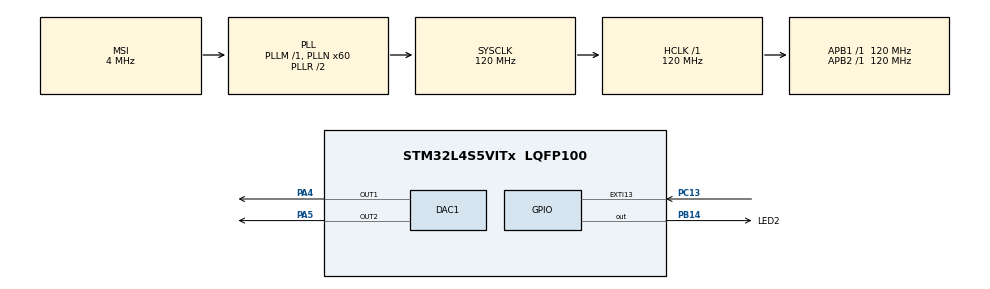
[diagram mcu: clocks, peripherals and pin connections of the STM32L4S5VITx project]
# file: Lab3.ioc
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DAC1.DAC_Channel-DAC_OUT2=DAC_CHANNEL_2
DAC1.DAC_Trigger-DAC_OUT1=DAC_TRIGGER_T2_TRGO
Dma.DAC1_CH1.0.Direction=DMA_MEMORY_TO_PERIPH
Dma.DAC1_CH1.0.EventEnable=DISABLE
Dma.DAC1_CH1.0.Instance=DMA1_Channel1
Dma.DAC1_CH1.0.MemDataAlignment=DMA_MDATAALIGN_BYTE
Dma.DAC1_CH1.0.MemInc=DMA_MINC_ENABLE
Dma.DAC1_CH1.0.Mode=DMA_CIRCULAR
Dma.DAC1_CH1.0.PeriphDataAlignment=DMA_PDATAALIGN_HALFWORD
Dma.DAC1_CH1.0.PeriphInc=DMA_PINC_DISABLE
Dma.DAC1_CH1.0.Polarity=HAL_DMAMUX_REQUEST_GEN_RISING
Dma.DAC1_CH1.0.Priority=DMA_PRIORITY_LOW
Dma.DAC1_CH1.0.RequestNumber=1
Dma.DAC1_CH1.0.SignalID=NONE
Dma.DAC1_CH1.0.SyncEnable=DISABLE
Dma.DAC1_CH1.0.SyncPolarity=HAL_DMAMUX_SYNC_NO_EVENT
Dma.DAC1_CH1.0.SyncRequestNumber=1
Dma.DAC1_CH1.0.SyncSignalID=NONE
Dma.Request0=DAC1_CH1
Mcu.Family=STM32L4
Mcu.Name=STM32L4S5VITx
Mcu.Package=LQFP100
NVIC.DMA1_Channel1_IRQn=true\:0\:0\:false\:false\:true\:false\:true\:true
NVIC.EXTI15_10_IRQn=true\:0\:0\:false\:false\:true\:true\:true\:true
NVIC.PriorityGroup=NVIC_PRIORITYGROUP_4
NVIC.TIM2_IRQn=true\:0\:0\:false\:false\:true\:true\:true\:true
PA4.Signal=COMP_DAC11_group
PA5.Signal=COMP_DAC12_group
PB14.GPIO_Label=LED2
PB14.Signal=GPIO_Output
PC13.Signal=GPXTI13
ProjectManager.HeapSize=0x200
ProjectManager.StackSize=0x400
ProjectManager.TargetToolchain=CMake
RCC.ADCFreq_Value=16000000
RCC.AHBFreq_Value=120000000
RCC.APB1Freq_Value=120000000
RCC.APB1TimFreq_Value=120000000
RCC.APB2Freq_Value=120000000
RCC.APB2TimFreq_Value=120000000
RCC.CortexFreq_Value=120000000
RCC.HCLKFreq_Value=120000000
RCC.HSE_VALUE=8000000
RCC.HSI48_VALUE=48000000
RCC.HSI_VALUE=16000000
RCC.LSE_VALUE=32768
RCC.MSI_VALUE=4000000
RCC.PLLN=60
RCC.SYSCLKFreq_VALUE=120000000
RCC.SYSCLKSource=RCC_SYSCLKSOURCE_PLLCLK
RCC.USBFreq_Value=16000000
RCC.VCOOutputFreq_Value=240000000
SH.COMP_DAC11_group.0=DAC1_OUT1,DAC_OUT1
SH.COMP_DAC12_group.0=DAC1_OUT2,DAC_OUT2
TIM2.AutoReloadPreload=TIM_AUTORELOAD_PRELOAD_ENABLE
TIM2.Period=2721
TIM2.TIM_MasterOutputTrigger=TIM_TRGO_UPDATE
VP_TIM2_VS_ClockSourceINT.Mode=Internal
board=custom

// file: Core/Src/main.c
/* USER CODE BEGIN Header */
/**
  ******************************************************************************
  * @file           : main.c
  * @brief          : Main program body
  ******************************************************************************
  * @attention
  *
  * Copyright (c) 2026 STMicroelectronics.
  * All rights reserved.
  *
  * This software is licensed under terms that can be found in the LICENSE file
  * in the root directory of this software component.
  * If no LICENSE file comes with this software, it is provided AS-IS.
  *
  ******************************************************************************
  */
/* USER CODE END Header */
#include "main.h"

/* USER CODE BEGIN Includes */
#include "arm_math.h"
#include "stm32l4xx_hal_gpio.h"
/* USER CODE END Includes */

/* USER CODE BEGIN PD */
#define PART_1 1
#define PART_1_SINE 2
#define PART_2 3
#define PART_3 4
#define IMPLEMENTATION_MODE 4
/* USER CODE END PD */

DAC_HandleTypeDef hdac1;
DMA_HandleTypeDef hdma_dac1_ch1;

TIM_HandleTypeDef htim2;

/* USER CODE BEGIN PV */
#if IMPLEMENTATION_MODE == PART_1
int32_t dac_value1 = 0;
int32_t dac_value2 = 0;
uint32_t sawtooth_step = 273;
uint32_t tri_step = 546;
#endif
#if IMPLEMENTATION_MODE == PART_2 || IMPLEMENTATION_MODE == PART_3
#define N_SAMPLES 32 // 44.1 kHz / 32 = 1378 Hz tone
uint8_t sine[N_SAMPLES]; // 8-bit DAC values
volatile uint32_t sineIndex = 0;
#endif

#if IMPLEMENTATION_MODE == PART_3
#define N_TONES 3
const uint32_t toneARR[N_TONES] = {3597, 3204, 2855};   // C6, D6, E6 at 120 MHz, 32 samples
volatile uint8_t toneIndex = 0;
#endif
/* USER CODE END PV */

void SystemClock_Config(void);
static void MX_GPIO_Init(void);
static void MX_DMA_Init(void);
static void MX_DAC1_Init(void);
static void MX_TIM2_Init(void);

/* USER CODE BEGIN 0 */

//Called by the EXTI interrupt when the button edge arrives.
void HAL_GPIO_EXTI_Callback(uint16_t GPIO_Pin)
{
  if (GPIO_Pin == GPIO_PIN_13)
  {
    //part2
    #if IMPLEMENTATION_MODE == PART_2
    HAL_GPIO_TogglePin(LED2_GPIO_Port, LED2_Pin);
    #endif

    #if IMPLEMENTATION_MODE == PART_3 //tone = sample rate / samples per period
    static uint32_t lastPress = 0;
    uint32_t currentPress = HAL_GetTick(); // get the current time in milliseconds
    if (currentPress - lastPress < 200) return;
    lastPress = currentPress; // update the last press time

    toneIndex++; // increment the tone index
    if (toneIndex >= N_TONES) toneIndex = 0; // wrap back to 0
    __HAL_TIM_SET_AUTORELOAD(&htim2, toneARR[toneIndex]); //change sample rate, changes TIM2’s ARR to the value for the currently selected note, which changes the pitch the speaker plays.
    HAL_GPIO_TogglePin(LED2_GPIO_Port, LED2_Pin);
    #endif
  }
}
#if IMPLEMENTATION_MODE == PART_2
//Called on every TIM2 update event. Sends the next sample to the DAC and wraps the index at 32.”
void HAL_TIM_PeriodElapsedCallback(TIM_HandleTypeDef *htim)
{
    if (htim->Instance == TIM2) {
      HAL_DAC_SetValue(&hdac1, DAC_CHANNEL_1, DAC_ALIGN_8B_R, sine[sineIndex]);
      sineIndex++;
      if (sineIndex >= N_SAMPLES) sineIndex = 0; // wrap back to 0
    }
}
#endif

/* USER CODE END 0 */

int main(void)
{

  /* MCU Configuration--------------------------------------------------------*/

  /* Reset of all peripherals, Initializes the Flash interface and the Systick. */
  HAL_Init();

  /* Configure the system clock */
  SystemClock_Config();

  /* Initialize all configured peripherals */
  MX_GPIO_Init();
  MX_DMA_Init();
  MX_DAC1_Init();
  MX_TIM2_Init();
  /* USER CODE BEGIN 2 */
  #if IMPLEMENTATION_MODE == PART_1
  HAL_DAC_Start(&hdac1, DAC_CHANNEL_1);
  HAL_DAC_Start(&hdac1, DAC_CHANNEL_2);
  HAL_DAC_SetValue(&hdac1, DAC_CHANNEL_1, DAC_ALIGN_12B_R, 0);
  HAL_DAC_SetValue(&hdac1, DAC_CHANNEL_2, DAC_ALIGN_12B_R, 0);
  int tri_direction = 1; // 1 for increasing, -1 for decreasing
  #endif
  #if IMPLEMENTATION_MODE == PART_1_SINE
  HAL_DAC_Start(&hdac1, DAC_CHANNEL_1);

  static uint16_t sine_lut[15]; // 15ms/1ms = 15 samples
  static volatile uint32_t idx = 0;

  for (uint32_t n = 0; n < 15; n++) { //pregenerate the sine wave lookup table
        float32_t theta = 2.0f * PI * (float32_t)n / (float32_t)15;
        float32_t s     = arm_sin_f32(theta);          // -1.0 .. +1.0
        float32_t v     = 2047.5 + 2047.5 * s;       //  0.0 .. 4095.0

        // round and clamp so it can never overflow the 12-bit DAC
        if (v < 0.0f)    v = 0.0f;
        if (v > 4095.0f) v = 4095.0f;
        sine_lut[n] = (uint16_t)(v + 0.5f);
    }
  #endif
  #if IMPLEMENTATION_MODE == PART_2 || IMPLEMENTATION_MODE == PART_3
  for (int n = 0; n < N_SAMPLES; n++) {
    float32_t s = arm_sin_f32(2.0f * PI * n / N_SAMPLES); //-1 to +1
    sine[n] = (uint8_t)((1 + s)*85); // 85 is about 2/3 of 0..255, avoid clipping
  }
  #endif

  #if IMPLEMENTATION_MODE == PART_2
  HAL_DAC_Start(&hdac1, DAC_CHANNEL_1); // turn the DAC channel on
  HAL_TIM_Base_Start_IT(&htim2); // start TIM2 WITH interrupts, every time the counter reaches ARR (44,100 times per second), the update event fires and HAL_TIM_PeriodElapsedCallback runs
  #endif

  #if IMPLEMENTATION_MODE == PART_3
  __HAL_TIM_SET_AUTORELOAD(&htim2, toneARR[0]); //HAL macro that changes a timer’s ARR value while the program is running, changes the sample rate = how many samples the DAC outputs per second => tone changes
  HAL_DAC_Start_DMA(&hdac1, DAC_CHANNEL_1, (uint32_t *)sine, N_SAMPLES, DAC_ALIGN_8B_R); //DMA copies sine[] into the DAC on each timer trigger, circularly, with no CPU work.
  HAL_TIM_Base_Start(&htim2);
  #endif
  /* USER CODE END 2 */

  /* Infinite loop */
  /* USER CODE BEGIN WHILE */
  while (1)
  {
    #if IMPLEMENTATION_MODE == PART_1
    if (tri_direction == 1) {
    dac_value1 += tri_step;
    if (dac_value1 >= 4095) {
        dac_value1 = 4095;
        tri_direction = -1;
    }
} else {
    dac_value1 -= tri_step;
    if (dac_value1 <= 0) {
        dac_value1 = 0;
        tri_direction = 1;
    }
}
    HAL_DAC_SetValue(&hdac1, DAC_CHANNEL_1, DAC_ALIGN_12B_R, (uint32_t)dac_value1);

    if (dac_value2 < 4095) {
        dac_value2+= sawtooth_step; // Increment by the step size
    } else {
        dac_value2 = 0; // Reset to 0 when it reaches the maximum
    }
    HAL_DAC_SetValue(&hdac1, DAC_CHANNEL_2, DAC_ALIGN_12B_R, (uint32_t)dac_value2);

    HAL_Delay(1);
    #endif

    #if IMPLEMENTATION_MODE == PART_1_SINE
    HAL_DAC_SetValue(&hdac1, DAC_CHANNEL_1, DAC_ALIGN_12B_R, sine_lut[idx]);
    idx++;
    if (idx >= 15) {
        idx = 0;
    }
    HAL_Delay(1);
    #endif
    /* USER CODE END WHILE */

  }
}

void SystemClock_Config(void)
{
  RCC_OscInitTypeDef RCC_OscInitStruct = {0};
  RCC_ClkInitTypeDef RCC_ClkInitStruct = {0};

  /** Configure the main internal regulator output voltage
  */
  if (HAL_PWREx_ControlVoltageScaling(PWR_REGULATOR_VOLTAGE_SCALE1_BOOST) != HAL_OK)
  {
    Error_Handler();
  }

  /** Initializes the RCC Oscillators according to the specified parameters
  * in the RCC_OscInitTypeDef structure.
  */
  RCC_OscInitStruct.OscillatorType = RCC_OSCILLATORTYPE_MSI;
  RCC_OscInitStruct.MSIState = RCC_MSI_ON;
  RCC_OscInitStruct.MSICalibrationValue = 0;
  RCC_OscInitStruct.MSIClockRange = RCC_MSIRANGE_6;
  RCC_OscInitStruct.PLL.PLLState = RCC_PLL_ON;
  RCC_OscInitStruct.PLL.PLLSource = RCC_PLLSOURCE_MSI;
  RCC_OscInitStruct.PLL.PLLM = 1;
  RCC_OscInitStruct.PLL.PLLN = 60;
  RCC_OscInitStruct.PLL.PLLP = RCC_PLLP_DIV2;
  RCC_OscInitStruct.PLL.PLLQ = RCC_PLLQ_DIV2;
  RCC_OscInitStruct.PLL.PLLR = RCC_PLLR_DIV2;
  if (HAL_RCC_OscConfig(&RCC_OscInitStruct) != HAL_OK)
  {
    Error_Handler();
  }

  /** Initializes the CPU, AHB and APB buses clocks
  */
  RCC_ClkInitStruct.ClockType = RCC_CLOCKTYPE_HCLK|RCC_CLOCKTYPE_SYSCLK
                              |RCC_CLOCKTYPE_PCLK1|RCC_CLOCKTYPE_PCLK2;
  RCC_ClkInitStruct.SYSCLKSource = RCC_SYSCLKSOURCE_PLLCLK;
  RCC_ClkInitStruct.AHBCLKDivider = RCC_SYSCLK_DIV1;
  RCC_ClkInitStruct.APB1CLKDivider = RCC_HCLK_DIV1;
  RCC_ClkInitStruct.APB2CLKDivider = RCC_HCLK_DIV1;

  if (HAL_RCC_ClockConfig(&RCC_ClkInitStruct, FLASH_LATENCY_5) != HAL_OK)
  {
    Error_Handler();
  }
}

static void MX_DAC1_Init(void)
{

  DAC_ChannelConfTypeDef sConfig = {0};

  /** DAC Initialization
  */
  hdac1.Instance = DAC1;
  if (HAL_DAC_Init(&hdac1) != HAL_OK)
  {
    Error_Handler();
  }

  /** DAC channel OUT1 config
  */
  sConfig.DAC_SampleAndHold = DAC_SAMPLEANDHOLD_DISABLE;
  sConfig.DAC_Trigger = DAC_TRIGGER_T2_TRGO;
  sConfig.DAC_HighFrequency = DAC_HIGH_FREQUENCY_INTERFACE_MODE_ABOVE_80MHZ;
  sConfig.DAC_OutputBuffer = DAC_OUTPUTBUFFER_ENABLE;
  sConfig.DAC_ConnectOnChipPeripheral = DAC_CHIPCONNECT_DISABLE;
  sConfig.DAC_UserTrimming = DAC_TRIMMING_FACTORY;
  if (HAL_DAC_ConfigChannel(&hdac1, &sConfig, DAC_CHANNEL_1) != HAL_OK)
  {
    Error_Handler();
  }

  /** DAC channel OUT2 config
  */
  sConfig.DAC_Trigger = DAC_TRIGGER_NONE;
  if (HAL_DAC_ConfigChannel(&hdac1, &sConfig, DAC_CHANNEL_2) != HAL_OK)
  {
    Error_Handler();
  }

}

static void MX_TIM2_Init(void)
{

  TIM_ClockConfigTypeDef sClockSourceConfig = {0};
  TIM_MasterConfigTypeDef sMasterConfig = {0};

  htim2.Instance = TIM2;
  htim2.Init.Prescaler = 0;
  htim2.Init.CounterMode = TIM_COUNTERMODE_UP;
  htim2.Init.Period = 2721;
  htim2.Init.ClockDivision = TIM_CLOCKDIVISION_DIV1;
  htim2.Init.AutoReloadPreload = TIM_AUTORELOAD_PRELOAD_ENABLE;
  if (HAL_TIM_Base_Init(&htim2) != HAL_OK)
  {
    Error_Handler();
  }
  sClockSourceConfig.ClockSource = TIM_CLOCKSOURCE_INTERNAL;
  if (HAL_TIM_ConfigClockSource(&htim2, &sClockSourceConfig) != HAL_OK)
  {
    Error_Handler();
  }
  sMasterConfig.MasterOutputTrigger = TIM_TRGO_UPDATE;
  sMasterConfig.MasterSlaveMode = TIM_MASTERSLAVEMODE_DISABLE;
  if (HAL_TIMEx_MasterConfigSynchronization(&htim2, &sMasterConfig) != HAL_OK)
  {
    Error_Handler();
  }

}

static void MX_DMA_Init(void)
{

  /* DMA controller clock enable */
  __HAL_RCC_DMAMUX1_CLK_ENABLE();
  __HAL_RCC_DMA1_CLK_ENABLE();

  /* DMA interrupt init */
  /* DMA1_Channel1_IRQn interrupt configuration */
  HAL_NVIC_SetPriority(DMA1_Channel1_IRQn, 0, 0);
  HAL_NVIC_EnableIRQ(DMA1_Channel1_IRQn);

}

static void MX_GPIO_Init(void)
{
  GPIO_InitTypeDef GPIO_InitStruct = {0};

  /* GPIO Ports Clock Enable */
  __HAL_RCC_GPIOC_CLK_ENABLE();
  __HAL_RCC_GPIOA_CLK_ENABLE();
  __HAL_RCC_GPIOB_CLK_ENABLE();

  /*Configure GPIO pin Output Level */
  HAL_GPIO_WritePin(LED2_GPIO_Port, LED2_Pin, GPIO_PIN_RESET);

  /*Configure GPIO pin : PC13 */
  GPIO_InitStruct.Pin = GPIO_PIN_13;
  GPIO_InitStruct.Mode = GPIO_MODE_IT_RISING;
  GPIO_InitStruct.Pull = GPIO_NOPULL;
  HAL_GPIO_Init(GPIOC, &GPIO_InitStruct);

  /*Configure GPIO pin : LED2_Pin */
  GPIO_InitStruct.Pin = LED2_Pin;
  GPIO_InitStruct.Mode = GPIO_MODE_OUTPUT_PP;
  GPIO_InitStruct.Pull = GPIO_NOPULL;
  GPIO_InitStruct.Speed = GPIO_SPEED_FREQ_LOW;
  HAL_GPIO_Init(LED2_GPIO_Port, &GPIO_InitStruct);

  /* EXTI interrupt init*/
  HAL_NVIC_SetPriority(EXTI15_10_IRQn, 0, 0);
  HAL_NVIC_EnableIRQ(EXTI15_10_IRQn);

}

void Error_Handler(void)
{
  __disable_irq();
  while (1)
  {
  }
}
